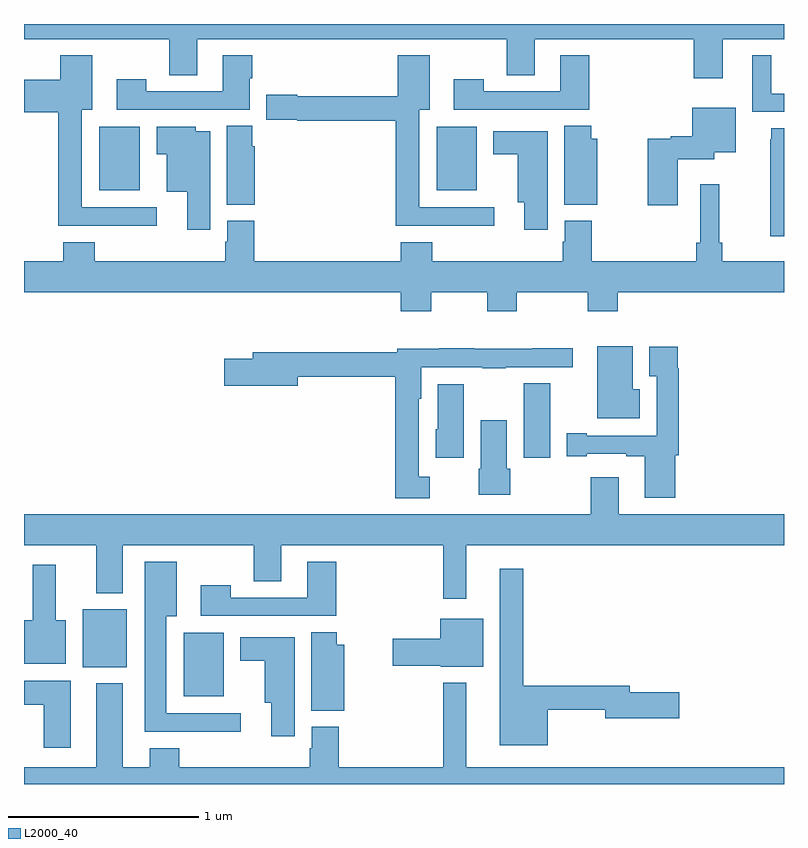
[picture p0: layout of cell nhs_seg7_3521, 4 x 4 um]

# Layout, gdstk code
import gdstk
lib = gdstk.Library(unit=1e-6, precision=1e-09)
def R(c, l, rs):  # rectangles x0, y0, x1, y1
    for r in rs: c.add(gdstk.rectangle(r[:2], r[2:], *l))
def P(c, l, *ps):  # polygons
    for p in ps: c.add(gdstk.Polygon(p, *l))
L2000_40 = (2000, 40)

nhs_seg7_3521 = lib.new_cell('nhs_seg7_3521')
R(nhs_seg7_3521, L2000_40, [(335.84,1026.461,336.052,1026.796), (335.309,1026.614,335.542,1026.919), (337.631,1027.716,337.771,1028.108), (335.396,1029.125,335.608,1029.46), (337.172,1029.125,337.384,1029.46)])
P(nhs_seg7_3521, L2000_40, [(338.677,1029.92),(339,1029.92),(339,1030),(335,1030),(335,1029.92),(335.764,1029.92),(335.764,1029.73),(335.911,1029.73),(335.911,1029.92),(337.54,1029.92),(337.54,1029.73),(337.687,1029.73),(337.687,1029.92),(338.525,1029.92),(338.525,1029.714),(338.677,1029.714)],
  [(339,1029.633),(338.932,1029.633),(338.932,1029.835),(338.834,1029.835),(338.834,1029.537),(339,1029.537)],
  [(335.698,1029.036),(335.305,1029.036),(335.305,1029.548),(335.359,1029.548),(335.359,1029.835),(335.192,1029.835),(335.192,1029.706),(335,1029.706),(335,1029.536),(335.18,1029.536),(335.18,1028.939),(335.698,1028.939)],
  [(337.474,1029.036),(337.081,1029.036),(337.081,1029.548),(337.135,1029.548),(337.135,1029.835),(336.968,1029.835),(336.968,1029.619),(336.438,1029.619),(336.438,1029.627),(336.276,1029.627),(336.276,1029.497),(336.438,1029.497),(336.438,1029.49),(336.956,1029.49),(336.956,1028.939),(337.474,1028.939)],
  [(337.976,1029.835),(337.823,1029.835),(337.823,1029.645),(337.419,1029.645),(337.419,1029.709),(337.263,1029.709),(337.263,1029.549),(337.976,1029.549)],
  [(336.187,1029.715),(336.2,1029.715),(336.2,1029.835),(336.047,1029.835),(336.047,1029.645),(335.643,1029.645),(335.643,1029.709),(335.487,1029.709),(335.487,1029.549),(336.187,1029.549)],
  [(338.44,1029.287),(338.632,1029.287),(338.632,1029.326),(338.746,1029.326),(338.746,1029.559),(338.516,1029.559),(338.516,1029.41),(338.403,1029.41),(338.403,1029.397),(338.282,1029.397),(338.282,1029.045),(338.44,1029.045)],
  [(336.215,1029.356),(336.202,1029.356),(336.202,1029.464),(336.068,1029.464),(336.068,1029.049),(336.215,1029.049)],
  [(338.017,1029.397),(337.986,1029.397),(337.986,1029.464),(337.844,1029.464),(337.844,1029.05),(338.017,1029.05)],
  [(335.98,1029.436),(335.904,1029.436),(335.904,1029.46),(335.699,1029.46),(335.699,1029.314),(335.75,1029.314),(335.75,1029.116),(335.858,1029.116),(335.858,1028.916),(335.98,1028.916)],
  [(339,1029.452),(338.933,1029.452),(338.933,1029.393),(338.927,1029.393),(338.927,1028.882),(339,1028.882)],
  [(337.756,1029.436),(337.469,1029.436),(337.469,1029.314),(337.598,1029.314),(337.598,1029.062),(337.634,1029.062),(337.634,1028.916),(337.756,1028.916)],
  [(337.143,1028.588),(337.438,1028.588),(337.438,1028.489),(337.593,1028.489),(337.593,1028.588),(337.966,1028.588),(337.966,1028.489),(338.126,1028.489),(338.126,1028.588),(339,1028.588),(339,1028.752),(338.675,1028.752),(338.675,1028.848),(338.66,1028.848),(338.66,1029.157),(338.559,1029.157),(338.559,1028.848),(338.539,1028.848),(338.539,1028.752),(337.988,1028.752),(337.988,1028.965),(337.847,1028.965),(337.847,1028.853),(337.835,1028.853),(337.835,1028.752),(337.148,1028.752),(337.148,1028.851),(336.983,1028.851),(336.983,1028.752),(336.212,1028.752),(336.212,1028.964),(336.071,1028.964),(336.071,1028.853),(336.059,1028.853),(336.059,1028.752),(335.372,1028.752),(335.372,1028.851),(335.207,1028.851),(335.207,1028.752),(335,1028.752),(335,1028.588),(336.983,1028.588),(336.983,1028.489),(337.143,1028.489)],
  [(338.242,1028.078),(338.203,1028.078),(338.203,1028.305),(338.018,1028.305),(338.018,1027.925),(338.242,1027.925)],
  [(338.428,1027.73),(338.447,1027.73),(338.447,1028.189),(338.44,1028.189),(338.44,1028.302),(338.291,1028.302),(338.291,1028.146),(338.331,1028.146),(338.331,1027.833),(337.963,1027.833),(337.963,1027.846),(337.856,1027.846),(337.856,1027.725),(337.963,1027.725),(337.963,1027.737),(338.171,1027.737),(338.171,1027.725),(338.267,1027.725),(338.267,1027.506),(338.428,1027.506)],
  [(337.135,1027.618),(337.078,1027.618),(337.078,1028.028),(337.09,1028.028),(337.09,1028.193),(337.411,1028.193),(337.411,1028.188),(337.535,1028.188),(337.535,1028.193),(337.888,1028.193),(337.888,1028.294),(337.675,1028.294),(337.675,1028.291),(337.369,1028.291),(337.369,1028.294),(337.186,1028.294),(337.186,1028.291),(336.965,1028.291),(336.965,1028.272),(336.203,1028.272),(336.203,1028.238),(336.054,1028.238),(336.054,1028.096),(336.442,1028.096),(336.442,1028.143),(336.953,1028.143),(336.953,1027.505),(337.135,1027.505)],
  [(337.315,1028.104),(337.178,1028.104),(337.178,1027.866),(337.166,1027.866),(337.166,1027.716),(337.315,1027.716)],
  [(337.56,1027.659),(337.54,1027.659),(337.54,1027.915),(337.403,1027.915),(337.403,1027.659),(337.394,1027.659),(337.394,1027.523),(337.56,1027.523)],
  [(337.327,1027.256),(339,1027.256),(339,1027.42),(338.131,1027.42),(338.131,1027.615),(337.984,1027.615),(337.984,1027.42),(335,1027.42),(335,1027.256),(335.381,1027.256),(335.381,1027.004),(335.521,1027.004),(335.521,1027.256),(336.208,1027.256),(336.208,1027.066),(336.355,1027.066),(336.355,1027.256),(337.206,1027.256),(337.206,1026.975),(337.327,1026.975)],
  [(336.644,1027.171),(336.491,1027.171),(336.491,1026.981),(336.087,1026.981),(336.087,1027.045),(335.931,1027.045),(335.931,1026.885),(336.644,1026.885)],
  [(336.142,1026.372),(335.749,1026.372),(335.749,1026.884),(335.803,1026.884),(335.803,1027.171),(335.636,1027.171),(335.636,1026.275),(336.142,1026.275)],
  [(335.221,1026.862),(335.167,1026.862),(335.167,1027.153),(335.045,1027.153),(335.045,1026.862),(335,1026.862),(335,1026.632),(335.221,1026.632)],
  [(337.756,1026.39),(338.06,1026.39),(338.06,1026.347),(338.449,1026.347),(338.449,1026.482),(338.188,1026.482),(338.188,1026.518),(337.627,1026.518),(337.627,1027.132),(337.505,1027.132),(337.505,1026.203),(337.756,1026.203)],
  [(337.417,1026.871),(337.19,1026.871),(337.19,1026.765),(336.942,1026.765),(336.942,1026.623),(337.194,1026.623),(337.194,1026.617),(337.417,1026.617)],
  [(336.685,1026.733),(336.646,1026.733),(336.646,1026.8),(336.512,1026.8),(336.512,1026.386),(336.685,1026.386)],
  [(336.424,1026.772),(336.137,1026.772),(336.137,1026.65),(336.266,1026.65),(336.266,1026.428),(336.302,1026.428),(336.302,1026.252),(336.424,1026.252)],
  [(335.245,1026.544),(335,1026.544),(335,1026.416),(335.105,1026.416),(335.105,1026.192),(335.245,1026.192)],
  [(339,1026.088),(337.327,1026.088),(337.327,1026.532),(337.206,1026.532),(337.206,1026.088),(336.656,1026.088),(336.656,1026.301),(336.515,1026.301),(336.515,1026.189),(336.503,1026.189),(336.503,1026.088),(335.816,1026.088),(335.816,1026.187),(335.663,1026.187),(335.663,1026.088),(335.521,1026.088),(335.521,1026.529),(335.381,1026.529),(335.381,1026.088),(335,1026.088),(335,1026),(339,1026)])

lib.write_gds('nhs_seg7_3521.gds')
